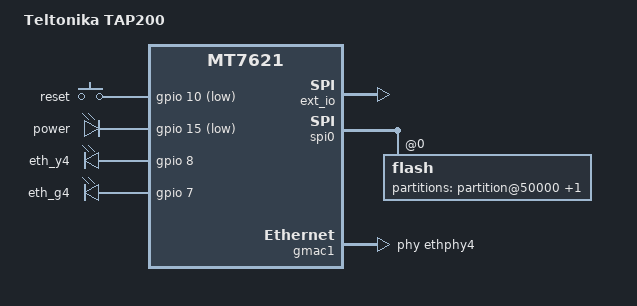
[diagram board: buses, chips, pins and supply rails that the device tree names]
#include "mt7621-teltonika-common.dtsi"
#include "mt7621-teltonika-tap200-flash.dtsi"

/ {
	compatible = "teltonika,tap200", "mediatek,mt7621-soc";
	model = "Teltonika TAP200";

	chosen {
		bootargs = "console=ttyS0,115200 rootfstype=squashfs,jffs2 root=/dev/mtdblock6";
	};

	ext_io {
		compatible = "spi-gpio";
		#address-cells = <1>;
		#size-cells = <0>;
	};

	keys {
		compatible = "gpio-keys";

		reset {
			label = "reset";
			gpios = <&gpio 10 GPIO_ACTIVE_LOW>;
			linux,code = <KEY_RESTART>;
		};
	};

	leds {
		compatible = "gpio-leds";

		power_led {
			label = "power";
			linux,default-trigger = "timer";
			gpios = <&gpio 15 GPIO_ACTIVE_LOW>;
		};

		led_eth_y4 {
			label = "eth_y4";
			gpios = <&gpio 8 GPIO_ACTIVE_HIGH>;
		};

		led_eth_g4 {
			label = "eth_g4";
			gpios = <&gpio 7 GPIO_ACTIVE_HIGH>;
		};
	};

	tlt_gpios { // Modify according to wiki page "DTS syntax with Libgpiod changes"
		gpiochip_info {
			hw_0 {
				hwver = <0>;
				gpiochip_count = <3>;

				gpiochip_0 = <32>; // Built-in
				gpiochip_1 = <32>; // Built-in
				gpiochip_2 = <32>; // Built-in
			};
		};
	};
};

&mnfinfo {
	blver {
		reg = <&boot 0x40000 0xa>;
	};
};

&spi0 {
	flash@0 {
		partitions {
			partition@50000 {
				read-only;
			};

			partition@60000 {
				read-only;
			};
		};
	};
};

&state_default {
	gpio {
		groups = "wdt", "jtag", "sdhci", "uart2", "uart3";
		function = "gpio";
	};
};

&gmac1 {
	status = "okay";
	label = "eth1";
	phy-handle = <&ethphy4>;
	nvmem-cells = <&macaddr_config_0 1>;
	nvmem-cell-names = "mac-address";
};

&ethphy4 {
	/delete-property/ interrupts;
};

&mnfinfo {
	/delete-node/ simpin1;
	/delete-node/ simpin2;
	/delete-node/ mob_vidpid_1;

	sim_count {
		default =  "0";
	};
};
